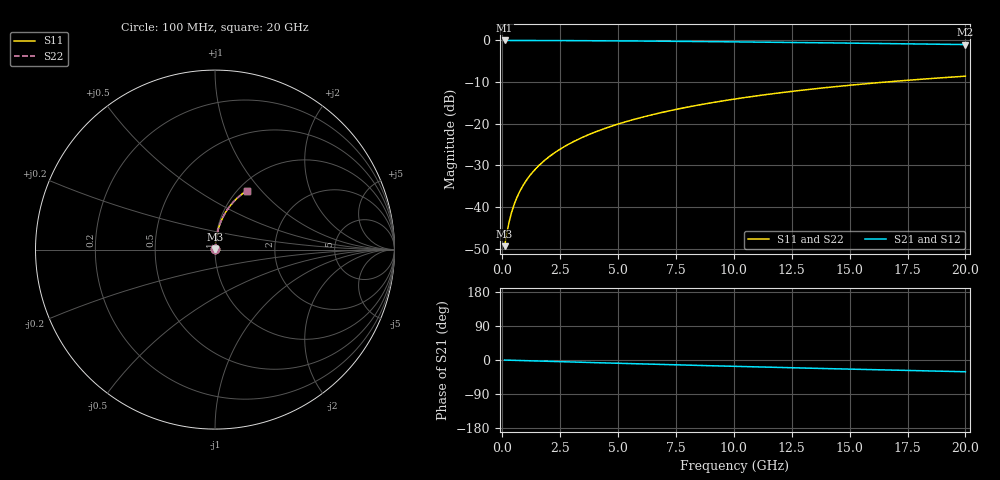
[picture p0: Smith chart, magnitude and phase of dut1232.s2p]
! Touchstone file exported from HFSS 2024.1.0
!  File:  C:/UserFiles/LocalFiles/RDL_TSV_Batchsim/temp_RDL_bottom_1232_1780244597.aedt
!  Generated:  12:25:59 AM Jun  1, 2026
!  Design:  RDL_bottom
!  Project:  temp_RDL_bottom_1232_1780244597
!  Setup:  Setup1
!  Solution:  Sweep
! Variables:
!  dtsv = 10.80580581um
!  hbump = 3um
!  htsv = 87.86um
!  ldown = 361.24um
!  lrdl = 100um
!  p = 40
!  p1 = 53.64um
!  rhole = 1um
!  t = 450um
!  tdown = 3.58um
!  trdl = 3.915915916um
!  wdown = 13.81um
!  wrdl = 20um
# GHz S MA R 50.000000
! Terminal data exported
! Port[1] = RDL1_T1
! Port[2] = RDL1_T2
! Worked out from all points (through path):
!   200 points, 100 MHz to 20 GHz, reference 50 ohm
!   highest |S21| = -0.02 dB at 100 MHz (marker M1); lowest = -1.0 dB at 20 GHz (marker M2)
!   group delay of S21, straight-line fit = 4.29 ps
!   lowest |S11| = -49.3 dB at 100 MHz (marker M3), VSWR 1.01, Z = 50.3 + j0.207 ohm
!   |S11| at or under -10 dB: start of sweep to 16.54 GHz
!   |S22| runs from -49.3 to -8.6 dB; largest |S21 - S12| = 3.4e-15
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0.1  0.003409 37.1  0.9973 -0.2  0.9973 -0.2  0.003409 37.1
! Gamma 0 0 0 0
! Port Impedance 50 0 50 0
0.2  0.004948 55.9  0.9972 -0.4  0.9972 -0.4  0.004948 55.9
0.3  0.006747 65.0  0.9971 -0.5  0.9971 -0.5  0.006747 65.0
0.4  0.008626 70.1  0.9971 -0.7  0.9971 -0.7  0.008626 70.1
0.5  0.01053 73.3  0.997 -0.9  0.997 -0.9  0.01053 73.3
0.6  0.01246 75.5  0.9969 -1.1  0.9969 -1.1  0.01246 75.5
0.8  0.01632 78.3  0.9967 -1.4  0.9967 -1.4  0.01632 78.3
1.1  0.02216 80.6  0.9963 -1.9  0.9963 -1.9  0.02216 80.6
1.5  0.02999 82.1  0.9958 -2.6  0.9958 -2.6  0.02999 82.1
1.8  0.03588 82.7  0.9953 -3.2  0.9953 -3.2  0.03588 82.7
2.1  0.04179 83.0  0.9947 -3.7  0.9947 -3.7  0.04179 83.0
2.7  0.05363 83.2  0.9934 -4.7  0.9934 -4.7  0.05363 83.2
3.5  0.06947 82.9  0.9911 -6.1  0.9911 -6.1  0.06947 82.9
4.2  0.08334 82.4  0.9887 -7.3  0.9887 -7.3  0.08334 82.4
5  0.09921 81.7  0.9856 -8.7  0.9856 -8.7  0.09921 81.7
5.9  0.117 80.7  0.9817 -10.2  0.9817 -10.2  0.1171 80.7
6.8  0.1348 79.7  0.9774 -11.6  0.9774 -11.6  0.1349 79.7
8.3  0.1643 77.7  0.9694 -14.0  0.9694 -14.0  0.1643 77.8
10.1  0.1992 75.3  0.959 -16.8  0.959 -16.8  0.1992 75.3
13.4  0.261 70.7  0.9378 -21.8  0.9378 -21.8  0.261 70.7
16.7  0.3189 66.1  0.9148 -26.5  0.9148 -26.5  0.3189 66.1
20  0.3722 61.7  0.8905 -31.0  0.8905 -31.0  0.3722 61.7
